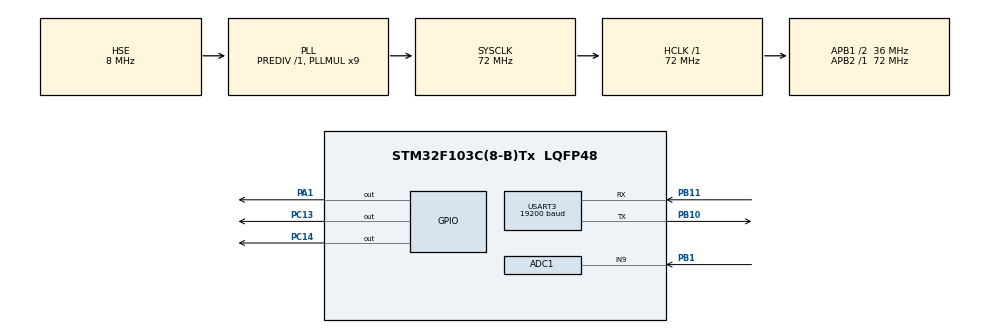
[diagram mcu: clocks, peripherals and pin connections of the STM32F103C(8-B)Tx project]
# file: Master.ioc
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ADC1.Channel-0\#ChannelRegularConversion=ADC_CHANNEL_9
ADC1.NbrOfConversionFlag=1
ADC1.Rank-0\#ChannelRegularConversion=1
ADC1.SamplingTime-0\#ChannelRegularConversion=ADC_SAMPLETIME_1CYCLE_5
ADC1.master=1
Mcu.Family=STM32F1
Mcu.Name=STM32F103C(8-B)Tx
Mcu.Package=LQFP48
NVIC.PriorityGroup=NVIC_PRIORITYGROUP_4
NVIC.USART3_IRQn=true\:0\:0\:false\:false\:true\:true\:true
PA1.Signal=GPIO_Output
PA13.Mode=Serial_Wire
PA13.Signal=SYS_JTMS-SWDIO
PA14.Mode=Serial_Wire
PA14.Signal=SYS_JTCK-SWCLK
PB1.Signal=ADCx_IN9
PB10.Mode=Asynchronous
PB10.Signal=USART3_TX
PB11.Mode=Asynchronous
PB11.Signal=USART3_RX
PC13-TAMPER-RTC.Signal=GPIO_Output
PC14-OSC32_IN.Signal=GPIO_Output
PD0-OSC_IN.Mode=HSE-External-Oscillator
PD0-OSC_IN.Signal=RCC_OSC_IN
PD1-OSC_OUT.Mode=HSE-External-Oscillator
PD1-OSC_OUT.Signal=RCC_OSC_OUT
ProjectManager.HeapSize=0x200
ProjectManager.StackSize=0x400
ProjectManager.TargetToolchain=STM32CubeIDE
RCC.ADCPresc=RCC_ADCPCLK2_DIV6
RCC.AHBFreq_Value=72000000
RCC.APB1CLKDivider=RCC_HCLK_DIV2
RCC.APB1Freq_Value=36000000
RCC.APB1TimFreq_Value=72000000
RCC.APB2Freq_Value=72000000
RCC.APB2TimFreq_Value=72000000
RCC.HCLKFreq_Value=72000000
RCC.PLLMUL=RCC_PLL_MUL9
RCC.PLLSourceVirtual=RCC_PLLSOURCE_HSE
RCC.SYSCLKFreq_VALUE=72000000
RCC.SYSCLKSource=RCC_SYSCLKSOURCE_PLLCLK
RCC.USBFreq_Value=72000000
SH.ADCx_IN9.0=ADC1_IN9,IN9
USART3.BaudRate=19200
USART3.VirtualMode=VM_ASYNC
VP_CRC_VS_CRC.Mode=CRC_Activate
board=custom

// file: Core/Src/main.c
/* USER CODE BEGIN Header */
/**
  ******************************************************************************
  * @file           : main.c
  * @brief          : Main program body
  ******************************************************************************
  * @attention
  *
  * <h2><center>&copy; Copyright (c) 2020 STMicroelectronics.
  * All rights reserved.</center></h2>
  *
  * This software component is licensed by ST under BSD 3-Clause license,
  * the "License"; You may not use this file except in compliance with the
  * License. You may obtain a copy of the License at:
  *                        opensource.org/licenses/BSD-3-Clause
  *
  ******************************************************************************
  */
/* USER CODE END Header */
#include "main.h"

/* USER CODE BEGIN Includes */
#include "stdlib.h"
/* USER CODE END Includes */

/* USER CODE BEGIN PTD */
enum States{INITIAL, IDLE, ARMED};
/* USER CODE END PTD */

/* USER CODE BEGIN PD */
#define STARTADDRESS 100
#define MASTERADDRESS 1
/* USER CODE END PD */

ADC_HandleTypeDef hadc1;

CRC_HandleTypeDef hcrc;

UART_HandleTypeDef huart3;

/* USER CODE BEGIN PV */
int state = INITIAL;
uint8_t UART1_rxBuffer[sizeof(struct CrcPacket)] = {0};
volatile uint16_t db[20] = {0};
struct CrcPacket recv_message;
int recv_flag = 0;
uint32_t timestmp = 0;
int sent_flag = 0;
int slvCount = 0;
uint16_t rnd = 0;
uint16_t mnus = 11;
/* USER CODE END PV */

void SystemClock_Config(void);
static void MX_GPIO_Init(void);
static void MX_CRC_Init(void);
static void MX_ADC1_Init(void);
static void MX_USART3_UART_Init(void);
/* USER CODE BEGIN PFP */
uint16_t randAddress();
int crcCheck();
void sendPacket();
/* USER CODE END PFP */

int main(void)
{
  /* USER CODE BEGIN 1 */
	struct Packet dt = {0xAA,STARTADDRESS, MASTERADDRESS, 322};
	for(int i = 0; i <(sizeof(struct CrcPacket)); i++){
		UART1_rxBuffer[i] = 222;
	}
  /* USER CODE END 1 */

  /* MCU Configuration--------------------------------------------------------*/

  /* Reset of all peripherals, Initializes the Flash interface and the Systick. */
  HAL_Init();

  /* Configure the system clock */
  SystemClock_Config();

  /* Initialize all configured peripherals */
  MX_GPIO_Init();
  MX_CRC_Init();
  MX_ADC1_Init();
  MX_USART3_UART_Init();
  /* USER CODE BEGIN 2 */
  HAL_CRC_Init(&hcrc);
  __HAL_UART_ENABLE_IT(&huart3, UART_IT_RXNE);
 // HAL_UART_Receive_IT (&huart3, UART1_rxBuffer, sizeof(UART1_rxBuffer));
  HAL_ADC_Start(&hadc1);
  HAL_ADC_PollForConversion(&hadc1, HAL_MAX_DELAY);
  srand(HAL_ADC_GetValue(&hadc1));
  HAL_GPIO_WritePin(GPIOA, GPIO_PIN_1, 1);
  HAL_GPIO_WritePin(GPIOC, GPIO_PIN_13, 1);
  HAL_GPIO_WritePin(GPIOC, GPIO_PIN_14, 1);
  /* USER CODE END 2 */

  /* Infinite loop */
  /* USER CODE BEGIN WHILE */
  while (1)
  {
 switch(state){
	  case INITIAL:
		  if(sent_flag == 0){
		  HAL_Delay(1000);
		  sendPacket(dt);
		  HAL_GPIO_TogglePin(GPIOC, GPIO_PIN_13);
		  sent_flag = 1;
		  }
		  else if((recv_flag==1)&&(recv_message.data.payload==322)){
			  slvCount = recv_message.data.receiverAddress - STARTADDRESS;
			  recv_flag =  0;
			  sent_flag = 0;
			  state = IDLE;
		  }
		  break;
	  case IDLE:
		  if(sent_flag == 0){
			  dt.receiverAddress = randAddress();
			  dt.payload = 300;
			  sendPacket(dt);
			  HAL_GPIO_TogglePin(GPIOC, GPIO_PIN_13);
			  timestmp = HAL_GetTick();
			  sent_flag = 1;
		  }
		  if((recv_flag==1)&&(recv_message.data.receiverAddress==1)){
			  if((recv_message.data.senderAddress - STARTADDRESS)<sizeof(db)){
				  db[(recv_message.data.senderAddress - STARTADDRESS)]= recv_message.data.payload;
				  HAL_Delay(50);
				  sent_flag = 0;
			  		}
		  }
		  if((HAL_GetTick()-timestmp)>200)
			  sent_flag = 0;

		  break;
	  case ARMED:
		  break;
	  default:
		  break;
 }

    /* USER CODE END WHILE */

  }
}

void SystemClock_Config(void)
{
  RCC_OscInitTypeDef RCC_OscInitStruct = {0};
  RCC_ClkInitTypeDef RCC_ClkInitStruct = {0};
  RCC_PeriphCLKInitTypeDef PeriphClkInit = {0};

  /** Initializes the RCC Oscillators according to the specified parameters
  * in the RCC_OscInitTypeDef structure.
  */
  RCC_OscInitStruct.OscillatorType = RCC_OSCILLATORTYPE_HSE;
  RCC_OscInitStruct.HSEState = RCC_HSE_ON;
  RCC_OscInitStruct.HSEPredivValue = RCC_HSE_PREDIV_DIV1;
  RCC_OscInitStruct.HSIState = RCC_HSI_ON;
  RCC_OscInitStruct.PLL.PLLState = RCC_PLL_ON;
  RCC_OscInitStruct.PLL.PLLSource = RCC_PLLSOURCE_HSE;
  RCC_OscInitStruct.PLL.PLLMUL = RCC_PLL_MUL9;
  if (HAL_RCC_OscConfig(&RCC_OscInitStruct) != HAL_OK)
  {
    Error_Handler();
  }
  /** Initializes the CPU, AHB and APB buses clocks
  */
  RCC_ClkInitStruct.ClockType = RCC_CLOCKTYPE_HCLK|RCC_CLOCKTYPE_SYSCLK
                              |RCC_CLOCKTYPE_PCLK1|RCC_CLOCKTYPE_PCLK2;
  RCC_ClkInitStruct.SYSCLKSource = RCC_SYSCLKSOURCE_PLLCLK;
  RCC_ClkInitStruct.AHBCLKDivider = RCC_SYSCLK_DIV1;
  RCC_ClkInitStruct.APB1CLKDivider = RCC_HCLK_DIV2;
  RCC_ClkInitStruct.APB2CLKDivider = RCC_HCLK_DIV1;

  if (HAL_RCC_ClockConfig(&RCC_ClkInitStruct, FLASH_LATENCY_2) != HAL_OK)
  {
    Error_Handler();
  }
  PeriphClkInit.PeriphClockSelection = RCC_PERIPHCLK_ADC;
  PeriphClkInit.AdcClockSelection = RCC_ADCPCLK2_DIV6;
  if (HAL_RCCEx_PeriphCLKConfig(&PeriphClkInit) != HAL_OK)
  {
    Error_Handler();
  }
}

static void MX_ADC1_Init(void)
{

  ADC_ChannelConfTypeDef sConfig = {0};

  /** Common config
  */
  hadc1.Instance = ADC1;
  hadc1.Init.ScanConvMode = ADC_SCAN_DISABLE;
  hadc1.Init.ContinuousConvMode = DISABLE;
  hadc1.Init.DiscontinuousConvMode = DISABLE;
  hadc1.Init.ExternalTrigConv = ADC_SOFTWARE_START;
  hadc1.Init.DataAlign = ADC_DATAALIGN_RIGHT;
  hadc1.Init.NbrOfConversion = 1;
  if (HAL_ADC_Init(&hadc1) != HAL_OK)
  {
    Error_Handler();
  }
  /** Configure Regular Channel
  */
  sConfig.Channel = ADC_CHANNEL_9;
  sConfig.Rank = ADC_REGULAR_RANK_1;
  sConfig.SamplingTime = ADC_SAMPLETIME_1CYCLE_5;
  if (HAL_ADC_ConfigChannel(&hadc1, &sConfig) != HAL_OK)
  {
    Error_Handler();
  }

}

static void MX_CRC_Init(void)
{

  hcrc.Instance = CRC;
  if (HAL_CRC_Init(&hcrc) != HAL_OK)
  {
    Error_Handler();
  }

}

static void MX_USART3_UART_Init(void)
{

  huart3.Instance = USART3;
  huart3.Init.BaudRate = 19200;
  huart3.Init.WordLength = UART_WORDLENGTH_8B;
  huart3.Init.StopBits = UART_STOPBITS_1;
  huart3.Init.Parity = UART_PARITY_NONE;
  huart3.Init.Mode = UART_MODE_TX_RX;
  huart3.Init.HwFlowCtl = UART_HWCONTROL_NONE;
  huart3.Init.OverSampling = UART_OVERSAMPLING_16;
  if (HAL_UART_Init(&huart3) != HAL_OK)
  {
    Error_Handler();
  }

}

static void MX_GPIO_Init(void)
{
  GPIO_InitTypeDef GPIO_InitStruct = {0};

  /* GPIO Ports Clock Enable */
  __HAL_RCC_GPIOC_CLK_ENABLE();
  __HAL_RCC_GPIOD_CLK_ENABLE();
  __HAL_RCC_GPIOA_CLK_ENABLE();
  __HAL_RCC_GPIOB_CLK_ENABLE();

  /*Configure GPIO pin Output Level */
  HAL_GPIO_WritePin(GPIOC, GPIO_PIN_13|GPIO_PIN_14, GPIO_PIN_RESET);

  /*Configure GPIO pin Output Level */
  HAL_GPIO_WritePin(GPIOA, GPIO_PIN_1, GPIO_PIN_RESET);

  /*Configure GPIO pins : PC13 PC14 */
  GPIO_InitStruct.Pin = GPIO_PIN_13|GPIO_PIN_14;
  GPIO_InitStruct.Mode = GPIO_MODE_OUTPUT_PP;
  GPIO_InitStruct.Pull = GPIO_NOPULL;
  GPIO_InitStruct.Speed = GPIO_SPEED_FREQ_LOW;
  HAL_GPIO_Init(GPIOC, &GPIO_InitStruct);

  /*Configure GPIO pin : PA1 */
  GPIO_InitStruct.Pin = GPIO_PIN_1;
  GPIO_InitStruct.Mode = GPIO_MODE_OUTPUT_PP;
  GPIO_InitStruct.Pull = GPIO_NOPULL;
  GPIO_InitStruct.Speed = GPIO_SPEED_FREQ_LOW;
  HAL_GPIO_Init(GPIOA, &GPIO_InitStruct);

}

/* USER CODE BEGIN 4 */

uint16_t randAddress(){
	int r = 0;
	int lower = STARTADDRESS;
	int upper = STARTADDRESS + slvCount;
	r =  (rand() % (upper - lower + 1)) + lower;
	return (uint16_t) r;
}
int crcCheck(struct CrcPacket p){
	int res = 0;
	if(p.crcVal==HAL_CRC_Calculate(&hcrc, (uint32_t*)&p.data, sizeof(p.data)/4)){
		res = 1;
	}
	return res;
}
void sendPacket(struct Packet p){
	struct CrcPacket msg = {p, HAL_CRC_Calculate(&hcrc, (uint32_t*) &p, sizeof(p)/4)};
	HAL_UART_Transmit(&huart3,(uint8_t*) &msg , sizeof(msg), 100);
}
/* USER CODE END 4 */

void Error_Handler(void)
{
}

/************************ (C) COPYRIGHT STMicroelectronics *****END OF FILE****/
